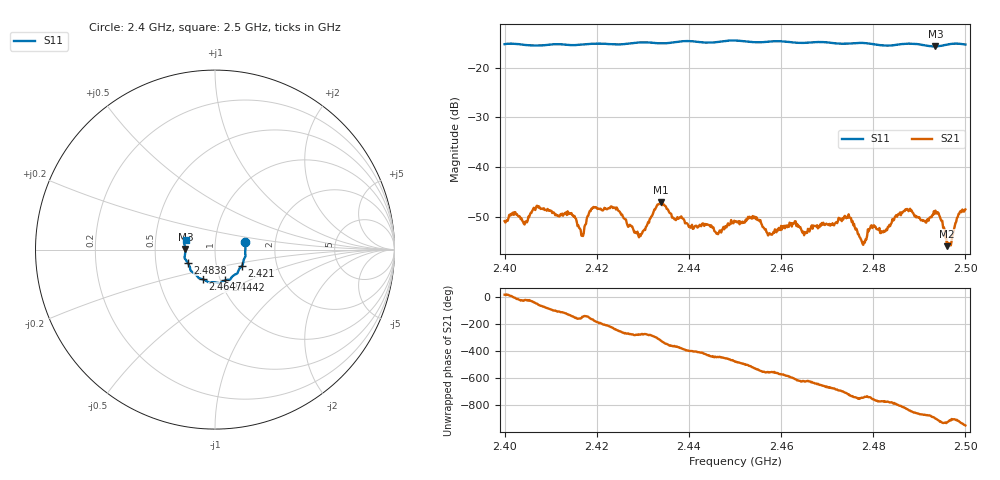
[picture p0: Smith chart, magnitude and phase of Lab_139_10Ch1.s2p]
# Hz S RI R 50
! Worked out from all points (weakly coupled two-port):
!   601 points, 2.4 GHz to 2.5 GHz, reference 50 ohm
!   highest |S21| = -47.12 dB at 2.4338 GHz (marker M1); lowest = -56.0 dB at 2.496 GHz (marker M2)
!   lowest |S11| = -15.7 dB at 2.4935 GHz (marker M3), VSWR 1.39, Z = 35.9 + j0.188 ohm
!   |S11| at or under -10 dB: start of sweep to end of sweep
!   S12 and S22 are empty: the file has one direction only
!   S11 on the Smith chart (normalised r, x): 2.4 GHz: 1.40, +0.12; 2.421 GHz: 1.33, -0.24; 2.4442 GHz: 1.05, -0.37; 2.4647 GHz: 0.83, -0.28; 2.4838 GHz: 0.73, -0.11; 2.5 GHz: 0.71, +0.08
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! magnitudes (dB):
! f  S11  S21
! 2.4 GHz  -15.2  -50.9
! 2.4073 GHz  -15.5  -48.2
! 2.4142 GHz  -15.4  -49.4
! 2.4167 GHz  -15.3  -53.8
! 2.4188 GHz  -15.1  -48.4
! 2.421 GHz  -15.1  -48.6
! 2.4242 GHz  -15.3  -48.6
! 2.4295 GHz  -14.8  -53.9
! 2.4333 GHz  -15.0  -47.5
! 2.4338 GHz  -15.0  -47.1
! 2.4442 GHz  -14.9  -51.7
! 2.45 GHz  -14.5  -50.9
! 2.4647 GHz  -14.9  -53.3
! 2.4667 GHz  -14.8  -51.8
! 2.4747 GHz  -15.1  -49.5
! 2.478 GHz  -15.0  -55.1
! 2.4797 GHz  -15.1  -51.8
! 2.4833 GHz  -15.5  -52.1
! 2.4838 GHz  -15.5  -51.5
! 2.4935 GHz  -15.7  -48.8
! 2.496 GHz  -15.3  -56.0
! 2.5 GHz  -15.3  -48.6
